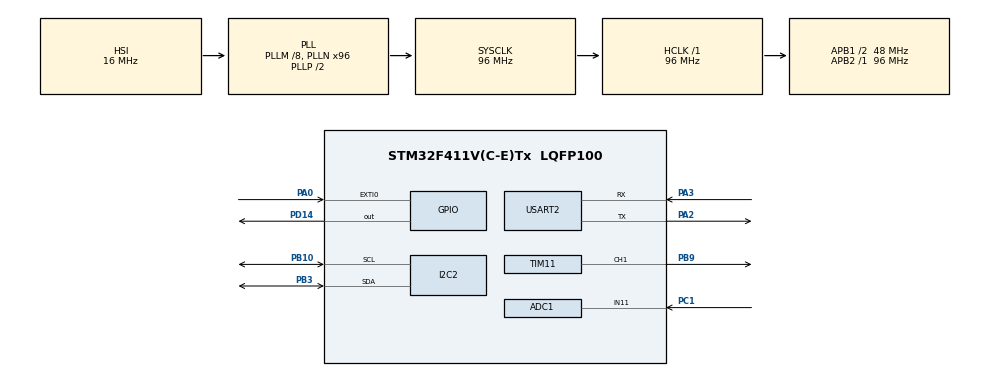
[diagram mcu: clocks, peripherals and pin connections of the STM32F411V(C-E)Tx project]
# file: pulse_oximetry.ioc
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ADC1.Channel-0\#ChannelRegularConversion=ADC_CHANNEL_11
ADC1.ContinuousConvMode=ENABLE
ADC1.DMAContinuousRequests=DISABLE
ADC1.ExternalTrigConv=ADC_EXTERNALTRIGCONV_T2_TRGO
ADC1.NbrOfConversionFlag=1
ADC1.Rank-0\#ChannelRegularConversion=1
ADC1.SamplingTime-0\#ChannelRegularConversion=ADC_SAMPLETIME_3CYCLES
ADC1.master=1
Dma.I2C2_TX.0.Direction=DMA_MEMORY_TO_PERIPH
Dma.I2C2_TX.0.FIFOMode=DMA_FIFOMODE_DISABLE
Dma.I2C2_TX.0.Instance=DMA1_Stream7
Dma.I2C2_TX.0.MemDataAlignment=DMA_MDATAALIGN_BYTE
Dma.I2C2_TX.0.MemInc=DMA_MINC_ENABLE
Dma.I2C2_TX.0.Mode=DMA_NORMAL
Dma.I2C2_TX.0.PeriphDataAlignment=DMA_PDATAALIGN_BYTE
Dma.I2C2_TX.0.PeriphInc=DMA_PINC_DISABLE
Dma.I2C2_TX.0.Priority=DMA_PRIORITY_LOW
Dma.Request0=I2C2_TX
Dma.Request1=USART2_RX
Dma.USART2_RX.1.Direction=DMA_PERIPH_TO_MEMORY
Dma.USART2_RX.1.FIFOMode=DMA_FIFOMODE_DISABLE
Dma.USART2_RX.1.Instance=DMA1_Stream5
Dma.USART2_RX.1.MemDataAlignment=DMA_MDATAALIGN_BYTE
Dma.USART2_RX.1.MemInc=DMA_MINC_ENABLE
Dma.USART2_RX.1.Mode=DMA_CIRCULAR
Dma.USART2_RX.1.PeriphDataAlignment=DMA_PDATAALIGN_BYTE
Dma.USART2_RX.1.PeriphInc=DMA_PINC_DISABLE
Dma.USART2_RX.1.Priority=DMA_PRIORITY_LOW
Mcu.Family=STM32F4
Mcu.Name=STM32F411V(C-E)Tx
Mcu.Package=LQFP100
NVIC.ADC_IRQn=true\:0\:0\:false\:false\:true\:true\:true\:true
NVIC.DMA1_Stream5_IRQn=true\:0\:0\:false\:false\:true\:false\:true\:true
NVIC.DMA1_Stream7_IRQn=true\:0\:0\:false\:false\:true\:false\:true\:true
NVIC.EXTI0_IRQn=true\:0\:0\:false\:false\:true\:true\:true\:true
NVIC.PriorityGroup=NVIC_PRIORITYGROUP_4
NVIC.TIM2_IRQn=true\:0\:0\:false\:false\:true\:true\:true\:true
NVIC.TIM5_IRQn=true\:0\:0\:false\:false\:true\:true\:true\:true
NVIC.USART2_IRQn=true\:0\:0\:false\:false\:true\:true\:true\:true
PA0-WKUP.GPIO_ModeDefaultEXTI=GPIO_MODE_IT_RISING_FALLING
PA0-WKUP.Signal=GPXTI0
PA13.Mode=Serial_Wire
PA13.Signal=SYS_JTMS-SWDIO
PA14.Mode=Serial_Wire
PA14.Signal=SYS_JTCK-SWCLK
PA2.Mode=Asynchronous
PA2.Signal=USART2_TX
PA3.Mode=Asynchronous
PA3.Signal=USART2_RX
PB10.Mode=I2C
PB10.Signal=I2C2_SCL
PB3.Mode=I2C
PB3.Signal=I2C2_SDA
PB9.Signal=S_TIM11_CH1
PC1.Signal=ADCx_IN11
PD14.Signal=GPIO_Output
PH0\ -\ OSC_IN.Mode=HSE-External-Oscillator
PH0\ -\ OSC_IN.Signal=RCC_OSC_IN
PH1\ -\ OSC_OUT.Mode=HSE-External-Oscillator
PH1\ -\ OSC_OUT.Signal=RCC_OSC_OUT
ProjectManager.HeapSize=0x200
ProjectManager.StackSize=0x400
ProjectManager.TargetToolchain=CMake
RCC.48MHZClocksFreq_Value=48000000
RCC.AHBFreq_Value=96000000
RCC.APB1CLKDivider=RCC_HCLK_DIV2
RCC.APB1Freq_Value=48000000
RCC.APB1TimFreq_Value=96000000
RCC.APB2Freq_Value=96000000
RCC.APB2TimFreq_Value=96000000
RCC.CortexFreq_Value=96000000
RCC.HCLKFreq_Value=96000000
RCC.HSE_VALUE=8000000
RCC.HSI_VALUE=16000000
RCC.LSE_VALUE=32768
RCC.PLLM=8
RCC.PLLN=96
RCC.SYSCLKFreq_VALUE=96000000
RCC.SYSCLKSource=RCC_SYSCLKSOURCE_PLLCLK
RCC.VCOOutputFreq_Value=192000000
SH.ADCx_IN11.0=ADC1_IN11,IN11
SH.S_TIM11_CH1.0=TIM11_CH1,PWM Generation1 CH1
TIM11.Channel=TIM_CHANNEL_1
TIM11.Period=1000
TIM11.Pulse=500
TIM2.Period=19999
TIM2.Prescaler=95
TIM2.TIM_MasterOutputTrigger=TIM_TRGO_UPDATE
TIM5.Period=95999999
TIM5.Prescaler=9
USART2.VirtualMode=VM_ASYNC
VP_TIM11_VS_ClockSourceINT.Mode=Enable_Timer
VP_TIM2_VS_ClockSourceINT.Mode=Internal
VP_TIM5_VS_ClockSourceINT.Mode=Internal
board=custom

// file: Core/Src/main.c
/* USER CODE BEGIN Header */
/**
 ******************************************************************************
 * @file           : main.c
 * @brief          : Main program body
 ******************************************************************************
 * @attention
 *
 * Copyright (c) 2024 STMicroelectronics.
 * All rights reserved.
 *
 * This software is licensed under terms that can be found in the LICENSE file
 * in the root directory of this software component.
 * If no LICENSE file comes with this software, it is provided AS-IS.
 *
 ******************************************************************************
 */
/* USER CODE END Header */
#include "main.h"

/* USER CODE BEGIN Includes */
#include "sys_manage.h"
/* USER CODE END Includes */

/* USER CODE BEGIN PD */
#define MAX_SIZE (100)
// Set sampling rate at 100Hz
#define PRESCALER_SAMPLING_RATE (959U)
#define AUTORELOAD_SAMPLING_RATE (999U)
/* USER CODE END PD */

ADC_HandleTypeDef hadc1;

I2C_HandleTypeDef hi2c2;
DMA_HandleTypeDef hdma_i2c2_tx;

TIM_HandleTypeDef htim2;
TIM_HandleTypeDef htim5;
TIM_HandleTypeDef htim11;

UART_HandleTypeDef huart2;
DMA_HandleTypeDef hdma_usart2_rx;

/* USER CODE BEGIN PV */
uint8_t display_buffer[1024];
sys_display_t display;
sys_measure_t ppg;
double filtered_data[129];
uint32_t peak_nums;
drv_buzzer_t buzzer;
cbuffer_t cbuffer;
uint8_t data_buffer[MAX_SIZE] = {0};
uint8_t data_received[MAX_SIZE] = {0};
/* USER CODE END PV */

void SystemClock_Config(void);
static void MX_GPIO_Init(void);
static void MX_DMA_Init(void);
static void MX_ADC1_Init(void);
static void MX_TIM2_Init(void);
static void MX_I2C2_Init(void);
static void MX_TIM11_Init(void);
static void MX_USART2_UART_Init(void);
static void MX_TIM5_Init(void);

int main(void)
{

  /* MCU Configuration--------------------------------------------------------*/

  /* Reset of all peripherals, Initializes the Flash interface and the Systick. */
  HAL_Init();

  /* Configure the system clock */
  SystemClock_Config();

  /* Initialize all configured peripherals */
  MX_GPIO_Init();
  MX_DMA_Init();
  MX_ADC1_Init();
  MX_TIM2_Init();
  MX_I2C2_Init();
  MX_TIM11_Init();
  MX_USART2_UART_Init();
  MX_TIM5_Init();
  /* USER CODE BEGIN 2 */
  sys_manage_start_protocol(&huart2);
  sys_manage_start_button(GPIOA, GPIO_PIN_0, 1);
  sys_manage_start_display(&hi2c2, display_buffer);
  sys_manage_start_rtc(&hi2c2);
  sys_manage_start_measure(&hadc1, &htim2, PRESCALER_SAMPLING_RATE, AUTORELOAD_SAMPLING_RATE, filtered_data);
  sys_manage_start_storage();
  sys_manage_start_buzzer(&htim11, TIM_CHANNEL_1);
  sys_manage_start(&htim5);
  /* USER CODE END 2 */

  /* Infinite loop */
  while (1)
  {

    /* USER CODE BEGIN 3 */
    sys_manage_loop();
  }
  /* USER CODE END 3 */
}

void SystemClock_Config(void)
{
  RCC_OscInitTypeDef RCC_OscInitStruct = {0};
  RCC_ClkInitTypeDef RCC_ClkInitStruct = {0};

  /** Configure the main internal regulator output voltage
  */
  __HAL_RCC_PWR_CLK_ENABLE();
  __HAL_PWR_VOLTAGESCALING_CONFIG(PWR_REGULATOR_VOLTAGE_SCALE1);

  /** Initializes the RCC Oscillators according to the specified parameters
  * in the RCC_OscInitTypeDef structure.
  */
  RCC_OscInitStruct.OscillatorType = RCC_OSCILLATORTYPE_HSI;
  RCC_OscInitStruct.HSIState = RCC_HSI_ON;
  RCC_OscInitStruct.HSICalibrationValue = RCC_HSICALIBRATION_DEFAULT;
  RCC_OscInitStruct.PLL.PLLState = RCC_PLL_ON;
  RCC_OscInitStruct.PLL.PLLSource = RCC_PLLSOURCE_HSI;
  RCC_OscInitStruct.PLL.PLLM = 8;
  RCC_OscInitStruct.PLL.PLLN = 96;
  RCC_OscInitStruct.PLL.PLLP = RCC_PLLP_DIV2;
  RCC_OscInitStruct.PLL.PLLQ = 4;
  if (HAL_RCC_OscConfig(&RCC_OscInitStruct) != HAL_OK)
  {
    Error_Handler();
  }

  /** Initializes the CPU, AHB and APB buses clocks
  */
  RCC_ClkInitStruct.ClockType = RCC_CLOCKTYPE_HCLK|RCC_CLOCKTYPE_SYSCLK
                              |RCC_CLOCKTYPE_PCLK1|RCC_CLOCKTYPE_PCLK2;
  RCC_ClkInitStruct.SYSCLKSource = RCC_SYSCLKSOURCE_PLLCLK;
  RCC_ClkInitStruct.AHBCLKDivider = RCC_SYSCLK_DIV1;
  RCC_ClkInitStruct.APB1CLKDivider = RCC_HCLK_DIV2;
  RCC_ClkInitStruct.APB2CLKDivider = RCC_HCLK_DIV1;

  if (HAL_RCC_ClockConfig(&RCC_ClkInitStruct, FLASH_LATENCY_3) != HAL_OK)
  {
    Error_Handler();
  }
}

static void MX_ADC1_Init(void)
{

  ADC_ChannelConfTypeDef sConfig = {0};

  /** Configure the global features of the ADC (Clock, Resolution, Data Alignment and number of conversion)
  */
  hadc1.Instance = ADC1;
  hadc1.Init.ClockPrescaler = ADC_CLOCK_SYNC_PCLK_DIV4;
  hadc1.Init.Resolution = ADC_RESOLUTION_12B;
  hadc1.Init.ScanConvMode = DISABLE;
  hadc1.Init.ContinuousConvMode = ENABLE;
  hadc1.Init.DiscontinuousConvMode = DISABLE;
  hadc1.Init.ExternalTrigConvEdge = ADC_EXTERNALTRIGCONVEDGE_RISING;
  hadc1.Init.ExternalTrigConv = ADC_EXTERNALTRIGCONV_T2_TRGO;
  hadc1.Init.DataAlign = ADC_DATAALIGN_RIGHT;
  hadc1.Init.NbrOfConversion = 1;
  hadc1.Init.DMAContinuousRequests = DISABLE;
  hadc1.Init.EOCSelection = ADC_EOC_SINGLE_CONV;
  if (HAL_ADC_Init(&hadc1) != HAL_OK)
  {
    Error_Handler();
  }

  /** Configure for the selected ADC regular channel its corresponding rank in the sequencer and its sample time.
  */
  sConfig.Channel = ADC_CHANNEL_11;
  sConfig.Rank = 1;
  sConfig.SamplingTime = ADC_SAMPLETIME_3CYCLES;
  if (HAL_ADC_ConfigChannel(&hadc1, &sConfig) != HAL_OK)
  {
    Error_Handler();
  }

}

static void MX_I2C2_Init(void)
{

  hi2c2.Instance = I2C2;
  hi2c2.Init.ClockSpeed = 100000;
  hi2c2.Init.DutyCycle = I2C_DUTYCYCLE_2;
  hi2c2.Init.OwnAddress1 = 0;
  hi2c2.Init.AddressingMode = I2C_ADDRESSINGMODE_7BIT;
  hi2c2.Init.DualAddressMode = I2C_DUALADDRESS_DISABLE;
  hi2c2.Init.OwnAddress2 = 0;
  hi2c2.Init.GeneralCallMode = I2C_GENERALCALL_DISABLE;
  hi2c2.Init.NoStretchMode = I2C_NOSTRETCH_DISABLE;
  if (HAL_I2C_Init(&hi2c2) != HAL_OK)
  {
    Error_Handler();
  }

}

static void MX_TIM2_Init(void)
{

  TIM_ClockConfigTypeDef sClockSourceConfig = {0};
  TIM_MasterConfigTypeDef sMasterConfig = {0};

  htim2.Instance = TIM2;
  htim2.Init.Prescaler = 95;
  htim2.Init.CounterMode = TIM_COUNTERMODE_UP;
  htim2.Init.Period = 19999;
  htim2.Init.ClockDivision = TIM_CLOCKDIVISION_DIV1;
  htim2.Init.AutoReloadPreload = TIM_AUTORELOAD_PRELOAD_DISABLE;
  if (HAL_TIM_Base_Init(&htim2) != HAL_OK)
  {
    Error_Handler();
  }
  sClockSourceConfig.ClockSource = TIM_CLOCKSOURCE_INTERNAL;
  if (HAL_TIM_ConfigClockSource(&htim2, &sClockSourceConfig) != HAL_OK)
  {
    Error_Handler();
  }
  sMasterConfig.MasterOutputTrigger = TIM_TRGO_UPDATE;
  sMasterConfig.MasterSlaveMode = TIM_MASTERSLAVEMODE_DISABLE;
  if (HAL_TIMEx_MasterConfigSynchronization(&htim2, &sMasterConfig) != HAL_OK)
  {
    Error_Handler();
  }

}

static void MX_TIM5_Init(void)
{

  TIM_ClockConfigTypeDef sClockSourceConfig = {0};
  TIM_MasterConfigTypeDef sMasterConfig = {0};

  htim5.Instance = TIM5;
  htim5.Init.Prescaler = 9;
  htim5.Init.CounterMode = TIM_COUNTERMODE_UP;
  htim5.Init.Period = 95999999;
  htim5.Init.ClockDivision = TIM_CLOCKDIVISION_DIV1;
  htim5.Init.AutoReloadPreload = TIM_AUTORELOAD_PRELOAD_DISABLE;
  if (HAL_TIM_Base_Init(&htim5) != HAL_OK)
  {
    Error_Handler();
  }
  sClockSourceConfig.ClockSource = TIM_CLOCKSOURCE_INTERNAL;
  if (HAL_TIM_ConfigClockSource(&htim5, &sClockSourceConfig) != HAL_OK)
  {
    Error_Handler();
  }
  sMasterConfig.MasterOutputTrigger = TIM_TRGO_RESET;
  sMasterConfig.MasterSlaveMode = TIM_MASTERSLAVEMODE_DISABLE;
  if (HAL_TIMEx_MasterConfigSynchronization(&htim5, &sMasterConfig) != HAL_OK)
  {
    Error_Handler();
  }

}

static void MX_TIM11_Init(void)
{

  TIM_OC_InitTypeDef sConfigOC = {0};

  htim11.Instance = TIM11;
  htim11.Init.Prescaler = 0;
  htim11.Init.CounterMode = TIM_COUNTERMODE_UP;
  htim11.Init.Period = 1000;
  htim11.Init.ClockDivision = TIM_CLOCKDIVISION_DIV1;
  htim11.Init.AutoReloadPreload = TIM_AUTORELOAD_PRELOAD_DISABLE;
  if (HAL_TIM_Base_Init(&htim11) != HAL_OK)
  {
    Error_Handler();
  }
  if (HAL_TIM_PWM_Init(&htim11) != HAL_OK)
  {
    Error_Handler();
  }
  sConfigOC.OCMode = TIM_OCMODE_PWM1;
  sConfigOC.Pulse = 500;
  sConfigOC.OCPolarity = TIM_OCPOLARITY_HIGH;
  sConfigOC.OCFastMode = TIM_OCFAST_DISABLE;
  if (HAL_TIM_PWM_ConfigChannel(&htim11, &sConfigOC, TIM_CHANNEL_1) != HAL_OK)
  {
    Error_Handler();
  }
  HAL_TIM_MspPostInit(&htim11);

}

static void MX_USART2_UART_Init(void)
{

  huart2.Instance = USART2;
  huart2.Init.BaudRate = 115200;
  huart2.Init.WordLength = UART_WORDLENGTH_8B;
  huart2.Init.StopBits = UART_STOPBITS_1;
  huart2.Init.Parity = UART_PARITY_NONE;
  huart2.Init.Mode = UART_MODE_TX_RX;
  huart2.Init.HwFlowCtl = UART_HWCONTROL_NONE;
  huart2.Init.OverSampling = UART_OVERSAMPLING_16;
  if (HAL_UART_Init(&huart2) != HAL_OK)
  {
    Error_Handler();
  }

}

static void MX_DMA_Init(void)
{

  /* DMA controller clock enable */
  __HAL_RCC_DMA1_CLK_ENABLE();

  /* DMA interrupt init */
  /* DMA1_Stream5_IRQn interrupt configuration */
  HAL_NVIC_SetPriority(DMA1_Stream5_IRQn, 0, 0);
  HAL_NVIC_EnableIRQ(DMA1_Stream5_IRQn);
  /* DMA1_Stream7_IRQn interrupt configuration */
  HAL_NVIC_SetPriority(DMA1_Stream7_IRQn, 0, 0);
  HAL_NVIC_EnableIRQ(DMA1_Stream7_IRQn);

}

static void MX_GPIO_Init(void)
{
  GPIO_InitTypeDef GPIO_InitStruct = {0};

  /* GPIO Ports Clock Enable */
  __HAL_RCC_GPIOH_CLK_ENABLE();
  __HAL_RCC_GPIOC_CLK_ENABLE();
  __HAL_RCC_GPIOA_CLK_ENABLE();
  __HAL_RCC_GPIOB_CLK_ENABLE();
  __HAL_RCC_GPIOD_CLK_ENABLE();

  /*Configure GPIO pin Output Level */
  HAL_GPIO_WritePin(GPIOD, GPIO_PIN_14, GPIO_PIN_RESET);

  /*Configure GPIO pin : PA0 */
  GPIO_InitStruct.Pin = GPIO_PIN_0;
  GPIO_InitStruct.Mode = GPIO_MODE_IT_RISING_FALLING;
  GPIO_InitStruct.Pull = GPIO_NOPULL;
  HAL_GPIO_Init(GPIOA, &GPIO_InitStruct);

  /*Configure GPIO pin : PD14 */
  GPIO_InitStruct.Pin = GPIO_PIN_14;
  GPIO_InitStruct.Mode = GPIO_MODE_OUTPUT_PP;
  GPIO_InitStruct.Pull = GPIO_NOPULL;
  GPIO_InitStruct.Speed = GPIO_SPEED_FREQ_LOW;
  HAL_GPIO_Init(GPIOD, &GPIO_InitStruct);

  /* EXTI interrupt init*/
  HAL_NVIC_SetPriority(EXTI0_IRQn, 0, 0);
  HAL_NVIC_EnableIRQ(EXTI0_IRQn);

}

void Error_Handler(void)
{
  __disable_irq();
  while (1)
  {
  }
}
